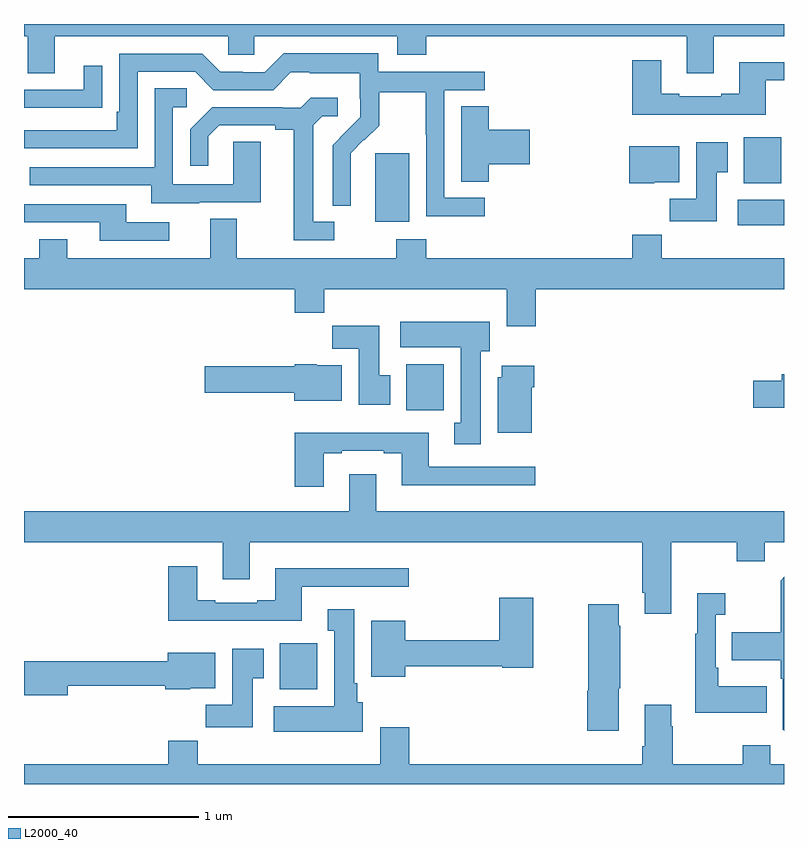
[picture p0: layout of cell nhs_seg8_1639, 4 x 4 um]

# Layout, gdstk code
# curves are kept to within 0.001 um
import gdstk
lib = gdstk.Library(unit=1e-6, precision=1e-09)
def R(c, l, rs):  # rectangles x0, y0, x1, y1
    for r in rs: c.add(gdstk.rectangle(r[:2], r[2:], *l))
def P(c, l, *ps):  # polygons
    for p in ps: c.add(gdstk.Polygon(p, *l))
L2000_40 = (2000, 40)

nhs_seg8_1639 = lib.new_cell('nhs_seg8_1639')
R(nhs_seg8_1639, L2000_40, [(216.347,1110.398,216.544,1110.64), (217.013,1111.868,217.21,1112.11), (218.757,1112.84,219,1112.974), (216.848,1112.858,217.027,1113.219), (218.789,1113.062,218.986,1113.304)])
P(nhs_seg8_1639, L2000_40, [(215.161,1113.836),(216.075,1113.836),(216.075,1113.738),(216.213,1113.738),(216.213,1113.836),(216.965,1113.836),(216.965,1113.737),(217.118,1113.737),(217.118,1113.836),(218.489,1113.836),(218.489,1113.642),(218.629,1113.642),(218.629,1113.836),(219,1113.836),(219,1113.9),(215,1113.9),(215,1113.836),(215.021,1113.836),(215.021,1113.642),(215.161,1113.642)],
  [(217.426,1112.985),(217.212,1112.985),(217.212,1113.552),(217.426,1113.552),(217.426,1113.648),(216.864,1113.648),(216.864,1113.745),(216.367,1113.745),(216.267,1113.645),(216.152,1113.645),(216.152,1113.648),(216.033,1113.648),(215.937,1113.744),(215.502,1113.744),(215.502,1113.439),(215.489,1113.439),(215.489,1113.342),(215,1113.342),(215,1113.246),(215.598,1113.246),(215.598,1113.648),(215.901,1113.648),(215.997,1113.552),(216.312,1113.552),(216.405,1113.645),(216.505,1113.645),(216.505,1113.641),(216.768,1113.641),(216.768,1113.507),(216.77,1113.507),(216.77,1113.41),(216.624,1113.262),(216.624,1112.944),(216.72,1112.944),(216.719,1113.221),(216.789,1113.291),(216.792,1113.288),(216.869,1113.365),(216.869,1113.54),(217.114,1113.54),(217.114,1113.316),(217.116,1113.316),(217.116,1112.887),(217.426,1112.887)],
  [(218.905,1113.603),(219,1113.603),(219,1113.7),(218.765,1113.7),(218.765,1113.532),(218.669,1113.532),(218.669,1113.519),(218.449,1113.519),(218.449,1113.532),(218.353,1113.532),(218.353,1113.709),(218.201,1113.709),(218.201,1113.422),(218.905,1113.422)],
  [(215.309,1113.46),(215.411,1113.46),(215.411,1113.679),(215.315,1113.679),(215.315,1113.555),(215,1113.555),(215,1113.459),(215.309,1113.459)],
  [(215.923,1112.961),(216.247,1112.961),(216.247,1113.281),(216.102,1113.281),(216.102,1113.057),(215.784,1113.057),(215.784,1113.462),(215.857,1113.462),(215.857,1113.563),(215.688,1113.563),(215.688,1113.147),(215.029,1113.147),(215.029,1113.051),(215.669,1113.051),(215.669,1112.957),(215.923,1112.957)],
  [(216.634,1112.859),(216.523,1112.859),(216.523,1113.367),(216.57,1113.414),(216.652,1113.414),(216.652,1113.511),(216.508,1113.511),(216.456,1113.459),(216.362,1113.459),(216.362,1113.462),(215.99,1113.462),(215.874,1113.346),(215.874,1113.153),(215.971,1113.153),(215.971,1113.309),(216.028,1113.366),(216.323,1113.366),(216.323,1113.344),(216.419,1113.344),(216.419,1112.763),(216.634,1112.763)],
  [(217.445,1113.161),(217.663,1113.161),(217.663,1113.344),(217.445,1113.344),(217.445,1113.467),(217.301,1113.467),(217.301,1113.07),(217.445,1113.07)],
  [(218.647,1113.121),(218.704,1113.121),(218.704,1113.277),(218.537,1113.277),(218.537,1112.98),(218.398,1112.98),(218.398,1112.862),(218.647,1112.862)],
  [(218.316,1113.068),(218.449,1113.068),(218.449,1113.256),(218.186,1113.256),(218.186,1113.062),(218.316,1113.062)],
  [(215.764,1112.856),(215.539,1112.856),(215.539,1112.952),(215,1112.952),(215,1112.856),(215.399,1112.856),(215.399,1112.76),(215.764,1112.76)],
  [(217.694,1112.504),(219,1112.504),(219,1112.668),(218.357,1112.668),(218.357,1112.792),(218.201,1112.792),(218.201,1112.668),(217.118,1112.668),(217.118,1112.767),(216.958,1112.767),(216.958,1112.668),(216.121,1112.668),(216.121,1112.876),(215.981,1112.876),(215.981,1112.668),(215.227,1112.668),(215.227,1112.767),(215.08,1112.767),(215.08,1112.668),(215,1112.668),(215,1112.504),(216.425,1112.504),(216.425,1112.38),(216.581,1112.38),(216.581,1112.504),(217.541,1112.504),(217.541,1112.31),(217.694,1112.31)],
  [(217.405,1112.178),(217.45,1112.178),(217.45,1112.332),(216.981,1112.332),(216.981,1112.198),(217.298,1112.198),(217.298,1111.802),(217.265,1111.802),(217.265,1111.689),(217.405,1111.689)],
  [(216.928,1112.052),(216.871,1112.052),(216.871,1112.311),(216.622,1112.311),(216.622,1112.192),(216.761,1112.192),(216.761,1111.896),(216.928,1111.896)],
  [(216.673,1112.104),(216.54,1112.104),(216.54,1112.11),(216.426,1112.11),(216.426,1112.1),(215.952,1112.1),(215.952,1111.958),(216.422,1111.958),(216.422,1111.916),(216.673,1111.916)],
  [(217.672,1111.988),(217.685,1111.988),(217.685,1112.101),(217.514,1112.101),(217.514,1112.04),(217.493,1112.04),(217.493,1111.748),(217.672,1111.748)],
  [(219,1112.056),(218.987,1112.056),(218.987,1112.022),(218.838,1112.022),(218.838,1111.88),(219,1111.88)],
  [(216.577,1111.641),(216.673,1111.641),(216.673,1111.653),(216.893,1111.653),(216.893,1111.641),(216.989,1111.641),(216.989,1111.472),(217.69,1111.472),(217.69,1111.569),(217.129,1111.569),(217.129,1111.75),(216.425,1111.75),(216.425,1111.464),(216.577,1111.464)],
  [(218.407,1111.172),(218.752,1111.172),(218.752,1111.073),(218.899,1111.073),(218.899,1111.172),(219,1111.172),(219,1111.336),(216.853,1111.336),(216.853,1111.531),(216.713,1111.531),(216.713,1111.336),(215,1111.336),(215,1111.172),(216.047,1111.172),(216.047,1110.978),(216.187,1110.978),(216.187,1111.172),(218.255,1111.172),(218.255,1110.907),(218.267,1110.907),(218.267,1110.795),(218.407,1110.795)],
  [(216.463,1110.939),(217.024,1110.939),(217.024,1111.036),(216.323,1111.036),(216.323,1110.868),(216.227,1110.868),(216.227,1110.855),(216.007,1110.855),(216.007,1110.868),(215.911,1110.868),(215.911,1111.045),(215.759,1111.045),(215.759,1110.758),(216.463,1110.758)],
  [(219,1110.99),(218.982,1110.971),(218.982,1110.699),(218.725,1110.699),(218.725,1110.551),(218.982,1110.551),(218.982,1110.455),(218.994,1110.455),(218.994,1110.186),(219,1110.18)],
  [(218.909,1110.415),(218.653,1110.415),(218.653,1110.511),(218.64,1110.511),(218.64,1110.791),(218.692,1110.791),(218.692,1110.904),(218.543,1110.904),(218.543,1110.691),(218.532,1110.691),(218.532,1110.275),(218.909,1110.275)],
  [(217.006,1110.52),(217.518,1110.52),(217.518,1110.512),(217.68,1110.512),(217.68,1110.88),(217.502,1110.88),(217.502,1110.656),(217.006,1110.656),(217.006,1110.76),(216.827,1110.76),(216.827,1110.464),(217.006,1110.464)],
  [(218.131,1110.403),(218.139,1110.403),(218.139,1110.734),(218.131,1110.734),(218.131,1110.847),(217.969,1110.847),(217.969,1110.392),(217.964,1110.392),(217.964,1110.18),(218.131,1110.18)],
  [(216.784,1110.33),(216.754,1110.33),(216.754,1110.43),(216.739,1110.43),(216.739,1110.82),(216.599,1110.82),(216.599,1110.707),(216.632,1110.707),(216.632,1110.31),(216.315,1110.31),(216.315,1110.176),(216.784,1110.176)],
  [(216.205,1110.457),(216.262,1110.457),(216.262,1110.613),(216.095,1110.613),(216.095,1110.316),(215.956,1110.316),(215.956,1110.198),(216.205,1110.198)],
  [(215.23,1110.417),(215.744,1110.417),(215.744,1110.398),(215.874,1110.398),(215.874,1110.404),(216.007,1110.404),(216.007,1110.592),(215.756,1110.592),(215.756,1110.545),(215,1110.545),(215,1110.367),(215.23,1110.367)],
  [(219,1110.004),(218.928,1110.004),(218.928,1110.103),(218.782,1110.103),(218.782,1110.004),(218.415,1110.004),(218.415,1110.203),(218.407,1110.203),(218.407,1110.316),(218.267,1110.316),(218.267,1110.1),(218.255,1110.1),(218.255,1110.004),(217.028,1110.004),(217.028,1110.199),(216.875,1110.199),(216.875,1110.004),(215.915,1110.004),(215.915,1110.128),(215.759,1110.128),(215.759,1110.004),(215,1110.004),(215,1109.9),(219,1109.9)])

lib.write_gds('nhs_seg8_1639.gds')
